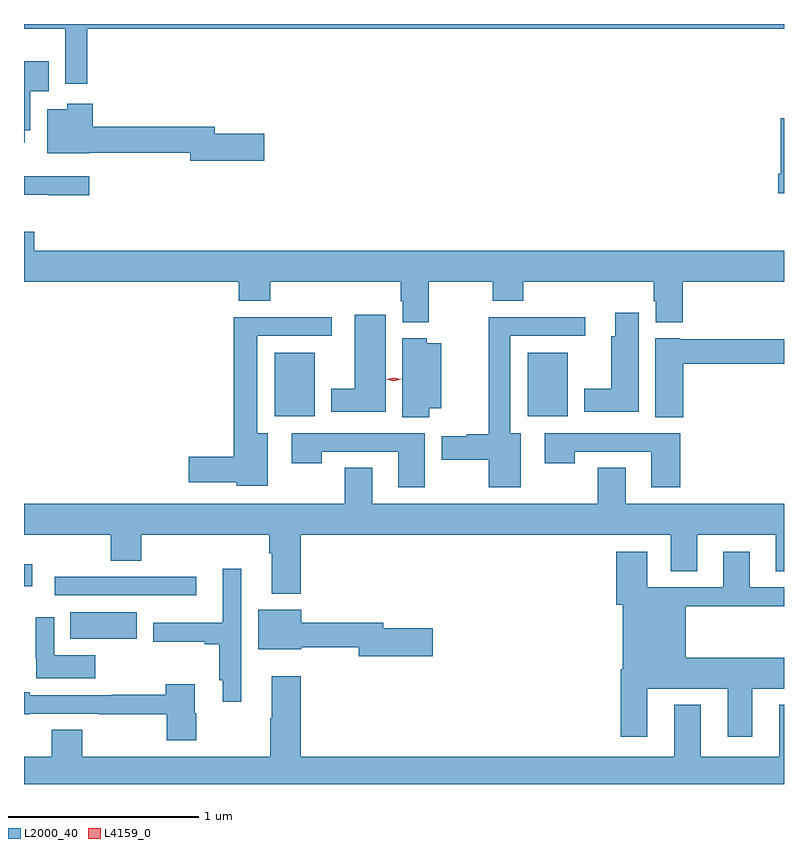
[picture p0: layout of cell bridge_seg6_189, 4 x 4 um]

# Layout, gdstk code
import gdstk
lib = gdstk.Library(unit=1e-6, precision=1e-09)
def R(c, l, rs):  # rectangles x0, y0, x1, y1
    for r in rs: c.add(gdstk.rectangle(r[:2], r[2:], *l))
def P(c, l, *ps):  # polygons
    for p in ps: c.add(gdstk.Polygon(p, *l))
L2000_40 = (2000, 40)
L4159_0 = (4159, 0)

bridge_seg6_189 = lib.new_cell('bridge_seg6_189')
R(bridge_seg6_189, L2000_40, [(363.403,994.742,363.753,994.882), (363.159,995.017,363.202,995.134), (364.478,995.912,364.69,996.247), (365.81,995.912,366.022,996.247)])
P(bridge_seg6_189, L2000_40, [(367.159,997.977),(363.159,997.977),(363.159,997.952),(363.375,997.952),(363.375,997.662),(363.491,997.662),(363.491,997.952),(367.159,997.952)],
  [(363.163,997.418),(363.193,997.418),(363.193,997.622),(363.29,997.622),(363.29,997.78),(363.159,997.78),(363.159,997.352),(363.163,997.352)],
  [(364.423,997.4),(364.162,997.4),(364.162,997.436),(363.521,997.436),(363.521,997.558),(363.386,997.558),(363.386,997.528),(363.281,997.528),(363.281,997.298),(363.504,997.298),(363.504,997.3),(364.034,997.3),(364.034,997.258),(364.423,997.258)],
  [(367.159,997.48),(367.142,997.48),(367.142,997.189),(367.13,997.189),(367.13,997.085),(367.159,997.085)],
  [(363.502,997.176),(363.185,997.176),(363.185,997.177),(363.159,997.177),(363.159,997.079),(363.289,997.079),(363.289,997.075),(363.502,997.075)],
  [(365.289,996.62),(365.626,996.62),(365.626,996.521),(365.786,996.521),(365.786,996.62),(366.473,996.62),(366.473,996.519),(366.485,996.519),(366.485,996.407),(366.626,996.407),(366.626,996.62),(367.159,996.62),(367.159,996.784),(363.212,996.784),(363.212,996.883),(363.159,996.883),(363.159,996.62),(364.289,996.62),(364.289,996.521),(364.454,996.521),(364.454,996.62),(365.141,996.62),(365.141,996.519),(365.153,996.519),(365.153,996.407),(365.289,996.407)],
  [(366.394,996.457),(366.272,996.457),(366.272,996.333),(366.251,996.333),(366.251,996.058),(366.107,996.058),(366.107,995.936),(366.394,995.936)],
  [(365.062,996.448),(364.901,996.448),(364.901,996.058),(364.775,996.058),(364.775,995.936),(365.062,995.936)],
  [(364.441,995.824),(364.387,995.824),(364.387,996.336),(364.78,996.336),(364.78,996.434),(364.262,996.434),(364.262,995.699),(364.026,995.699),(364.026,995.564),(364.278,995.564),(364.278,995.546),(364.441,995.546)],
  [(365.773,995.824),(365.719,995.824),(365.719,996.336),(366.112,996.336),(366.112,996.434),(365.606,996.434),(365.606,995.819),(365.49,995.819),(365.49,995.806),(365.358,995.806),(365.358,995.684),(365.606,995.684),(365.606,995.538),(365.773,995.538)],
  [(366.629,996.19),(367.159,996.19),(367.159,996.319),(366.612,996.319),(366.612,996.322),(366.482,996.322),(366.482,995.908),(366.629,995.908)],
  [(365.292,995.954),(365.356,995.954),(365.356,996.298),(365.28,996.298),(365.28,996.322),(365.15,996.322),(365.15,995.908),(365.292,995.908)],
  [(365.269,995.823),(364.569,995.823),(364.569,995.664),(364.725,995.664),(364.725,995.727),(365.129,995.727),(365.129,995.538),(365.269,995.538)],
  [(366.614,995.823),(365.901,995.823),(365.901,995.664),(366.057,995.664),(366.057,995.727),(366.461,995.727),(366.461,995.538),(366.614,995.538)],
  [(363.159,995.288),(363.616,995.288),(363.616,995.152),(363.776,995.152),(363.776,995.288),(364.451,995.288),(364.451,995.192),(364.463,995.192),(364.463,994.979),(364.616,994.979),(364.616,995.288),(366.563,995.288),(366.563,995.098),(366.703,995.098),(366.703,995.288),(367.115,995.288),(367.115,995.098),(367.159,995.098),(367.159,995.452),(366.325,995.452),(366.325,995.642),(366.178,995.642),(366.178,995.452),(364.993,995.452),(364.993,995.642),(364.846,995.642),(364.846,995.452),(363.159,995.452)],
  [(366.439,994.478),(366.863,994.478),(366.863,994.227),(366.991,994.227),(366.991,994.478),(367.159,994.478),(367.159,994.642),(366.643,994.642),(366.643,994.912),(367.159,994.912),(367.159,995.013),(366.979,995.013),(366.979,995.2),(366.839,995.2),(366.839,995.013),(366.439,995.013),(366.439,995.2),(366.275,995.2),(366.275,994.92),(366.311,994.92),(366.311,994.582),(366.299,994.582),(366.299,994.227),(366.439,994.227)],
  [(364.303,994.631),(364.302,994.631),(364.302,995.11),(364.205,995.11),(364.205,994.825),(363.838,994.825),(363.838,994.726),(364.109,994.726),(364.109,994.712),(364.186,994.712),(364.186,994.522),(364.205,994.522),(364.205,994.41),(364.303,994.41)],
  [(364.066,995.067),(363.321,995.067),(363.321,994.971),(363.846,994.971),(363.846,994.97),(364.066,994.97)],
  [(365.311,994.796),(365.05,994.796),(365.05,994.825),(364.618,994.825),(364.618,994.894),(364.391,994.894),(364.391,994.685),(364.618,994.685),(364.618,994.696),(364.922,994.696),(364.922,994.649),(365.311,994.649)],
  [(363.535,994.654),(363.318,994.654),(363.318,994.855),(363.222,994.855),(363.222,994.636),(363.223,994.636),(363.223,994.533),(363.535,994.533)],
  [(367.159,994.393),(367.133,994.393),(367.133,994.12),(366.721,994.12),(366.721,994.393),(366.581,994.393),(366.581,994.12),(364.616,994.12),(364.616,994.543),(364.463,994.543),(364.463,994.322),(364.456,994.322),(364.456,994.12),(363.465,994.12),(363.465,994.262),(363.305,994.262),(363.305,994.12),(363.159,994.12),(363.159,993.977),(367.159,993.977)],
  [(364.065,994.35),(364.057,994.35),(364.057,994.501),(363.905,994.501),(363.905,994.448),(363.622,994.448),(363.622,994.443),(363.19,994.443),(363.19,994.459),(363.159,994.459),(363.159,994.345),(363.19,994.345),(363.19,994.347),(363.553,994.347),(363.553,994.345),(363.91,994.345),(363.91,994.206),(364.065,994.206)])
P(bridge_seg6_189, L4159_0, [(365.105,996.096),(365.066,996.106),(365.066,996.106),(365.066,996.106),(365.105,996.116),(365.144,996.106),(365.144,996.106),(365.144,996.106)])

lib.write_gds('bridge_seg6_189.gds')
